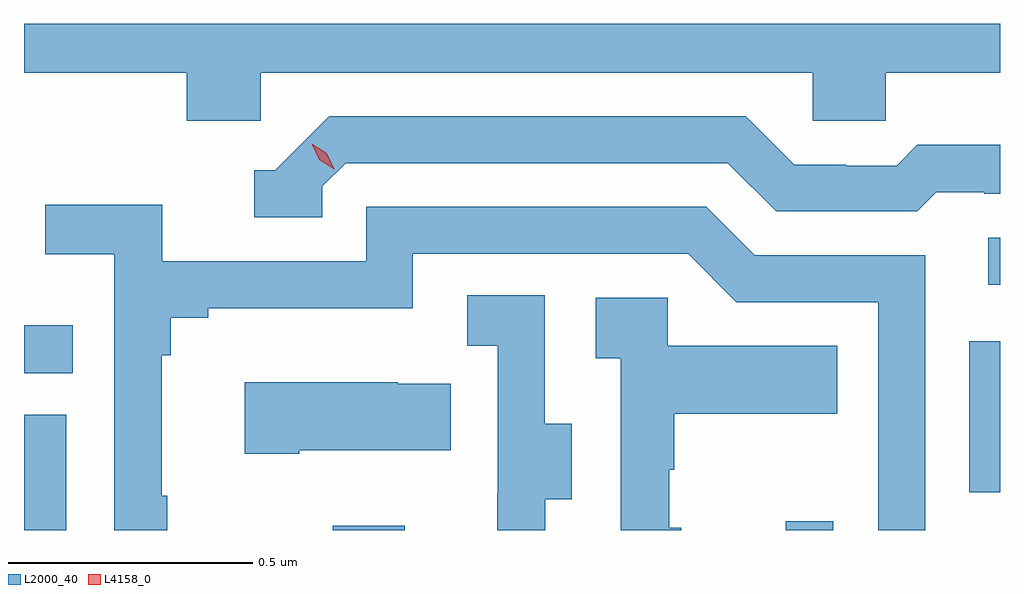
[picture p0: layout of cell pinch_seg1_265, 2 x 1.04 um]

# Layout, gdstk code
import gdstk
lib = gdstk.Library(unit=1e-6, precision=1e-09)
def R(c, l, rs):  # rectangles x0, y0, x1, y1
    for r in rs: c.add(gdstk.rectangle(r[:2], r[2:], *l))
def P(c, l, *ps):  # polygons
    for p in ps: c.add(gdstk.Polygon(p, *l))
L2000_40 = (2000, 40)
L4158_0 = (4158, 0)

pinch_seg1_265 = lib.new_cell('pinch_seg1_265')
R(pinch_seg1_265, L2000_40, [(933.313,582.763,933.4,582.999), (933.946,582.763,934.093,582.772), (934.874,582.763,934.971,582.781), (935.25,582.84,935.313,583.15), (933.313,583.084,933.413,583.183), (935.289,583.266,935.313,583.362)])
P(pinch_seg1_265, L2000_40, [(933.798,583.7),(934.929,583.7),(934.929,583.602),(935.079,583.602),(935.079,583.7),(935.313,583.7),(935.313,583.8),(933.313,583.8),(933.313,583.7),(933.647,583.7),(933.647,583.602),(933.798,583.602)],
  [(933.924,583.467),(933.972,583.515),(934.755,583.515),(934.854,583.416),(935.143,583.416),(935.182,583.455),(935.281,583.455),(935.281,583.452),(935.313,583.452),(935.313,583.552),(935.143,583.552),(935.101,583.509),(934.998,583.509),(934.998,583.512),(934.891,583.512),(934.792,583.611),(933.939,583.611),(933.828,583.5),(933.785,583.5),(933.785,583.404),(933.924,583.404)],
  [(933.607,582.833),(933.595,582.833),(933.595,583.121),(933.614,583.121),(933.614,583.198),(933.691,583.198),(933.691,583.217),(934.11,583.217),(934.11,583.329),(934.674,583.329),(934.773,583.23),(935.064,583.23),(935.064,582.763),(935.16,582.763),(935.16,583.326),(934.81,583.326),(934.711,583.425),(934.014,583.425),(934.014,583.314),(933.596,583.314),(933.596,583.43),(933.357,583.43),(933.357,583.328),(933.498,583.328),(933.498,582.763),(933.607,582.763)],
  [(934.381,582.826),(934.435,582.826),(934.435,582.981),(934.38,582.981),(934.38,583.244),(934.221,583.244),(934.221,583.141),(934.284,583.141),(934.284,582.837),(934.283,582.837),(934.283,582.763),(934.381,582.763)],
  [(934.66,582.768),(934.635,582.768),(934.635,582.887),(934.645,582.887),(934.645,583.001),(934.979,583.001),(934.979,583.141),(934.632,583.141),(934.632,583.239),(934.485,583.239),(934.485,583.115),(934.536,583.115),(934.536,582.763),(934.66,582.763)],
  [(933.877,582.926),(934.187,582.926),(934.187,583.063),(934.079,583.063),(934.079,583.066),(933.765,583.066),(933.765,582.919),(933.877,582.919)])
P(pinch_seg1_265, L4158_0, [(933.949,583.502),(933.918,583.522),(933.903,583.555),(933.903,583.555),(933.903,583.555),(933.933,583.535),(933.949,583.502),(933.949,583.502)])

lib.write_gds('pinch_seg1_265.gds')
